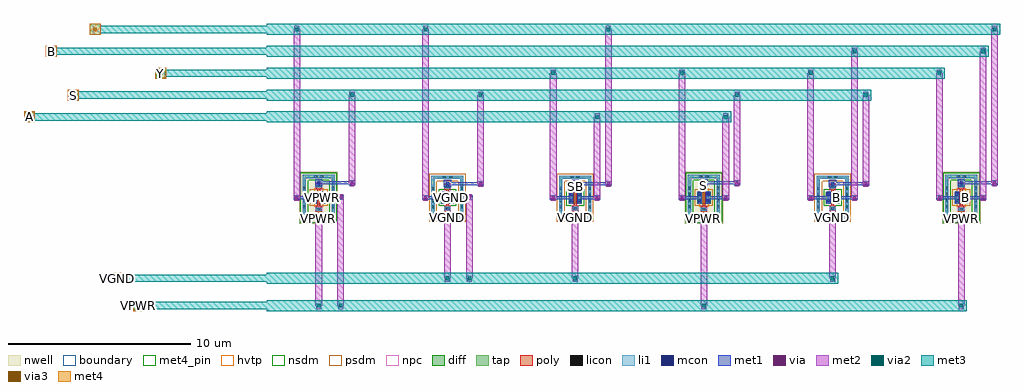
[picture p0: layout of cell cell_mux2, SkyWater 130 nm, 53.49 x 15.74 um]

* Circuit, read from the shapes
.subckt cell_mux2 A B S SB VGND VPWR Y
XM1 VGND S SB VGND sky130_fd_pr__nfet_01v8 w=0.65 l=0.15
XM2 A SB Y VGND sky130_fd_pr__nfet_01v8 w=0.65 l=0.15
XM3 B S Y VGND sky130_fd_pr__nfet_01v8 w=0.65 l=0.15
XM4 VPWR S SB VPWR sky130_fd_pr__pfet_01v8_hvt w=0.65 l=0.15
XM5 A S Y VPWR sky130_fd_pr__pfet_01v8_hvt w=0.65 l=0.15
XM6 B SB Y VPWR sky130_fd_pr__pfet_01v8_hvt w=0.65 l=0.15
.ends

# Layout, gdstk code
import gdstk
lib = gdstk.Library(unit=1e-6, precision=1e-09)
def R(c, l, rs):  # rectangles x0, y0, x1, y1
    for r in rs: c.add(gdstk.rectangle(r[:2], r[2:], *l))
def A(c, l, x, y, w, h, nx, ny, dx, dy):  # array of equal rectangles
    R(c, l, [(x+i*dx, y+j*dy, x+i*dx+w, y+j*dy+h) for i in range(nx) for j in range(ny)])
def P(c, l, *ps):  # polygons
    for p in ps: c.add(gdstk.Polygon(p, *l))
nwell = (64, 20)
diff = (65, 20)
tap = (65, 44)
poly = (66, 20)
licon = (66, 44)
li1 = (67, 20)
mcon = (67, 44)
met1 = (68, 20)
via = (68, 44)
met2 = (69, 20)
via2 = (69, 44)
met3 = (70, 20)
via3 = (70, 44)
met4_pin = (71, 16)
met4 = (71, 20)
hvtp = (78, 44)
nsdm = (93, 44)
psdm = (94, 20)
npc = (95, 20)
boundary = (235, 4)

cell_mux2 = lib.new_cell('cell_mux2')
R(cell_mux2, nwell, [(25.4,14.8,27.51,17.64), (46.51,14.8,48.62,17.64), (60.62,14.8,62.73,17.64)])
A(cell_mux2, diff, 40.145, 15.895, 0.73, 0.65, 4, 1, 7.055, 0)
R(cell_mux2, diff, [(26.09,15.895,26.82,16.545), (33.145,15.895,33.875,16.545)])
R(cell_mux2, tap, [(25.58,14.98,27.33,15.15), (46.69,14.98,48.44,15.15), (60.8,14.98,62.55,15.15), (32.635,15.025,34.385,15.195), (39.635,15.025,41.385,15.195), (53.745,15.025,55.495,15.195), (25.58,15.15,25.75,17.29), (27.16,15.15,27.33,17.29), (46.69,15.15,46.86,17.29), (48.27,15.15,48.44,17.29), (60.8,15.15,60.97,17.29), (62.38,15.15,62.55,17.29), (32.635,15.195,32.805,17.245), (34.215,15.195,34.385,17.245), (39.635,15.195,39.805,17.245), (41.215,15.195,41.385,17.245), (53.745,15.195,53.915,17.245), (55.325,15.195,55.495,17.245), (32.635,17.245,34.385,17.415), (39.635,17.245,41.385,17.415), (53.745,17.245,55.495,17.415), (25.58,17.29,27.33,17.46), (46.69,17.29,48.44,17.46), (60.8,17.29,62.55,17.46)])
R(cell_mux2, poly, [(26.29,15.41,26.62,15.74), (47.4,15.41,47.73,15.74), (61.51,15.41,61.84,15.74), (33.345,15.455,33.675,15.785), (40.345,15.455,40.675,15.785), (54.455,15.455,54.785,15.785), (26.38,15.74,26.53,16.7), (47.49,15.74,47.64,16.7), (61.6,15.74,61.75,16.7), (33.435,15.785,33.585,16.655), (40.435,15.785,40.585,16.655), (54.545,15.785,54.695,16.655), (33.345,16.655,33.675,16.985), (40.345,16.655,40.675,16.985), (54.455,16.655,54.785,16.985), (26.29,16.7,26.62,17.03), (47.4,16.7,47.73,17.03), (61.51,16.7,61.84,17.03)])
A(cell_mux2, licon, 25.58, 15.625, 0.17, 0.17, 1, 4, 0, 0.34)
A(cell_mux2, licon, 27.16, 15.625, 0.17, 0.17, 1, 4, 0, 0.34)
A(cell_mux2, licon, 32.635, 15.625, 0.17, 0.17, 1, 4, 0, 0.34)
A(cell_mux2, licon, 34.215, 15.625, 0.17, 0.17, 1, 4, 0, 0.34)
A(cell_mux2, licon, 39.635, 15.625, 0.17, 0.17, 1, 4, 0, 0.34)
A(cell_mux2, licon, 41.215, 15.625, 0.17, 0.17, 1, 4, 0, 0.34)
A(cell_mux2, licon, 46.69, 15.625, 0.17, 0.17, 1, 4, 0, 0.34)
A(cell_mux2, licon, 48.27, 15.625, 0.17, 0.17, 1, 4, 0, 0.34)
A(cell_mux2, licon, 53.745, 15.625, 0.17, 0.17, 1, 4, 0, 0.34)
A(cell_mux2, licon, 55.325, 15.625, 0.17, 0.17, 1, 4, 0, 0.34)
A(cell_mux2, licon, 60.8, 15.625, 0.17, 0.17, 1, 4, 0, 0.34)
A(cell_mux2, licon, 62.38, 15.625, 0.17, 0.17, 1, 4, 0, 0.34)
R(cell_mux2, licon, [(26.2,14.98,26.37,15.15), (26.54,14.98,26.71,15.15), (47.31,14.98,47.48,15.15), (47.65,14.98,47.82,15.15), (61.42,14.98,61.59,15.15), (61.76,14.98,61.93,15.15), (33.255,15.025,33.425,15.195), (33.595,15.025,33.765,15.195), (40.255,15.025,40.425,15.195), (40.595,15.025,40.765,15.195), (54.365,15.025,54.535,15.195), (54.705,15.025,54.875,15.195), (26.37,15.49,26.54,15.66), (47.48,15.49,47.65,15.66), (61.59,15.49,61.76,15.66), (33.425,15.535,33.595,15.705), (40.425,15.535,40.595,15.705), (54.535,15.535,54.705,15.705), (26.15,15.965,26.32,16.135), (26.59,15.965,26.76,16.135), (33.205,15.965,33.375,16.135), (33.645,15.965,33.815,16.135), (40.205,15.965,40.375,16.135), (40.645,15.965,40.815,16.135), (47.26,15.965,47.43,16.135), (47.7,15.965,47.87,16.135), (54.315,15.965,54.485,16.135), (54.755,15.965,54.925,16.135), (61.37,15.965,61.54,16.135), (61.81,15.965,61.98,16.135), (26.15,16.305,26.32,16.475), (26.59,16.305,26.76,16.475), (33.205,16.305,33.375,16.475), (33.645,16.305,33.815,16.475), (40.205,16.305,40.375,16.475), (40.645,16.305,40.815,16.475), (47.26,16.305,47.43,16.475), (47.7,16.305,47.87,16.475), (54.315,16.305,54.485,16.475), (54.755,16.305,54.925,16.475), (61.37,16.305,61.54,16.475), (61.81,16.305,61.98,16.475), (33.425,16.735,33.595,16.905), (40.425,16.735,40.595,16.905), (54.535,16.735,54.705,16.905), (26.37,16.78,26.54,16.95), (47.48,16.78,47.65,16.95), (61.59,16.78,61.76,16.95), (33.255,17.245,33.425,17.415), (33.595,17.245,33.765,17.415), (40.255,17.245,40.425,17.415), (40.595,17.245,40.765,17.415), (54.365,17.245,54.535,17.415), (54.705,17.245,54.875,17.415), (26.2,17.29,26.37,17.46), (26.54,17.29,26.71,17.46), (47.31,17.29,47.48,17.46), (47.65,17.29,47.82,17.46), (61.42,17.29,61.59,17.46), (61.76,17.29,61.93,17.46)])
R(cell_mux2, li1, [(25.58,14.98,27.33,15.15), (46.69,14.98,48.44,15.15), (60.8,14.98,62.55,15.15), (32.635,15.025,34.385,15.195), (39.635,15.025,41.385,15.195), (53.745,15.025,55.495,15.195), (25.58,15.15,25.75,17.29), (27.16,15.15,27.33,17.29), (46.69,15.15,46.86,17.29), (48.27,15.15,48.44,17.29), (60.8,15.15,60.97,17.29), (62.38,15.15,62.55,17.29), (32.635,15.195,32.805,17.245), (34.215,15.195,34.385,17.245), (39.635,15.195,39.805,17.245), (41.215,15.195,41.385,17.245), (53.745,15.195,53.915,17.245), (55.325,15.195,55.495,17.245), (26.29,15.49,26.62,15.66), (47.4,15.49,47.73,15.66), (61.51,15.49,61.84,15.66), (33.345,15.535,33.675,15.705), (40.345,15.535,40.675,15.705), (54.455,15.535,54.785,15.705), (26.15,15.875,26.32,16.565), (26.59,15.875,26.76,16.565), (33.205,15.875,33.375,16.565), (33.645,15.875,33.815,16.565), (40.205,15.875,40.375,16.565), (40.645,15.875,40.815,16.565), (47.26,15.875,47.43,16.565), (47.7,15.875,47.87,16.565), (54.315,15.875,54.485,16.565), (54.755,15.875,54.925,16.565), (61.37,15.875,61.54,16.565), (61.81,15.875,61.98,16.565), (33.345,16.735,33.675,16.905), (33.425,16.735,33.595,17.075), (40.345,16.735,40.675,16.905), (40.425,16.735,40.595,17.075), (54.455,16.735,54.785,16.905), (54.535,16.735,54.705,17.075), (26.29,16.78,26.62,16.95), (26.37,16.78,26.54,17.12), (47.4,16.78,47.73,16.95), (47.48,16.78,47.65,17.12), (61.51,16.78,61.84,16.95), (61.59,16.78,61.76,17.12), (32.635,17.245,34.385,17.415), (39.635,17.245,41.385,17.415), (53.745,17.245,55.495,17.415), (25.58,17.29,27.33,17.46), (46.69,17.29,48.44,17.46), (60.8,17.29,62.55,17.46)])
R(cell_mux2, mcon, [(26.37,14.98,26.54,15.15), (47.48,14.98,47.65,15.15), (61.59,14.98,61.76,15.15), (33.425,15.025,33.595,15.195), (40.425,15.025,40.595,15.195), (54.535,15.025,54.705,15.195), (26.15,15.955,26.32,16.125), (26.59,15.955,26.76,16.125), (33.205,15.955,33.375,16.125), (33.645,15.955,33.815,16.125), (40.205,15.955,40.375,16.125), (40.645,15.955,40.815,16.125), (47.26,15.955,47.43,16.125), (47.7,15.955,47.87,16.125), (54.315,15.955,54.485,16.125), (54.755,15.955,54.925,16.125), (61.37,15.955,61.54,16.125), (61.81,15.955,61.98,16.125), (26.15,16.315,26.32,16.485), (26.59,16.315,26.76,16.485), (33.205,16.315,33.375,16.485), (33.645,16.315,33.815,16.485), (40.205,16.315,40.375,16.485), (40.645,16.315,40.815,16.485), (47.26,16.315,47.43,16.485), (47.7,16.315,47.87,16.485), (54.315,16.315,54.485,16.485), (54.755,16.315,54.925,16.485), (61.37,16.315,61.54,16.485), (61.81,16.315,61.98,16.485), (33.425,16.905,33.595,17.075), (40.425,16.905,40.595,17.075), (54.535,16.905,54.705,17.075), (26.37,16.95,26.54,17.12), (47.48,16.95,47.65,17.12), (61.59,16.95,61.76,17.12)])
R(cell_mux2, met1, [(26.255,14.865,26.655,15.265), (47.365,14.865,47.765,15.265), (61.475,14.865,61.875,15.265), (33.31,14.91,33.71,15.31), (40.31,14.91,40.71,15.31), (54.42,14.91,54.82,15.31), (26.275,14.935,26.635,15.195), (47.385,14.935,47.745,15.195), (61.495,14.935,61.855,15.195), (33.33,14.98,33.69,15.24), (40.33,14.98,40.69,15.24), (54.44,14.98,54.8,15.24), (26.12,15.895,26.35,16.545), (26.56,15.895,26.79,16.545), (33.175,15.895,33.405,16.545), (33.615,15.895,33.845,16.545), (40.175,15.895,40.405,16.545), (40.615,15.895,40.845,16.545), (47.23,15.895,47.46,16.545), (47.67,15.895,47.9,16.545), (54.285,15.895,54.515,16.545), (54.725,15.895,54.955,16.545), (61.34,15.895,61.57,16.545), (61.78,15.895,62.01,16.545), (25.075,16.09,25.435,16.35), (27.475,16.09,27.835,16.35), (32.13,16.09,32.49,16.35), (34.53,16.09,34.89,16.35), (39.13,16.09,39.49,16.35), (41.53,16.09,41.89,16.35), (46.185,16.09,46.545,16.35), (48.585,16.09,48.945,16.35), (53.24,16.09,53.6,16.35), (55.64,16.09,56,16.35), (60.295,16.09,60.655,16.35), (62.695,16.09,63.055,16.35), (25.255,16.135,26.235,16.305), (26.675,16.135,27.655,16.305), (32.31,16.135,33.29,16.305), (33.73,16.135,34.71,16.305), (39.31,16.135,40.29,16.305), (40.73,16.135,41.71,16.305), (46.365,16.135,47.345,16.305), (47.785,16.135,48.765,16.305), (53.42,16.135,54.4,16.305), (54.84,16.135,55.82,16.305), (60.475,16.135,61.455,16.305), (61.895,16.135,62.875,16.305), (33.31,16.79,33.71,17.19), (40.31,16.79,40.71,17.19), (54.42,16.79,54.82,17.19), (26.255,16.835,26.655,17.235), (47.365,16.835,47.765,17.235), (61.475,16.835,61.875,17.235), (35.15,16.86,35.51,17.12), (42.15,16.86,42.51,17.12), (56.26,16.86,56.62,17.12), (28.095,16.905,28.455,17.165), (33.51,16.905,35.33,17.075), (40.51,16.905,42.33,17.075), (49.205,16.905,49.565,17.165), (54.62,16.905,56.44,17.075), (63.315,16.905,63.675,17.165), (26.455,16.95,28.275,17.12), (47.565,16.95,49.385,17.12), (61.675,16.95,63.495,17.12)])
P(cell_mux2, met1, [(47.565,14.98),(47.565,15.15),(47.565,15.15),(47.565,14.98)],
  [(61.675,14.98),(61.675,15.15),(61.675,15.15),(61.675,14.98)],
  [(33.51,15.025),(33.51,15.195),(33.51,15.195),(33.51,15.025)],
  [(40.51,15.025),(40.51,15.195),(40.51,15.195),(40.51,15.025)],
  [(54.62,15.025),(54.62,15.195),(54.62,15.195),(54.62,15.025)],
  [(26.455,14.98),(26.455,15.15),(26.455,15.15),(26.455,14.98)])
R(cell_mux2, via, [(26.38,14.99,26.53,15.14), (47.49,14.99,47.64,15.14), (61.6,14.99,61.75,15.14), (33.435,15.035,33.585,15.185), (40.435,15.035,40.585,15.185), (54.545,15.035,54.695,15.185), (25.18,16.145,25.33,16.295), (27.58,16.145,27.73,16.295), (32.235,16.145,32.385,16.295), (34.635,16.145,34.785,16.295), (39.235,16.145,39.385,16.295), (41.635,16.145,41.785,16.295), (46.29,16.145,46.44,16.295), (48.69,16.145,48.84,16.295), (53.345,16.145,53.495,16.295), (55.745,16.145,55.895,16.295), (60.4,16.145,60.55,16.295), (62.8,16.145,62.95,16.295), (35.255,16.915,35.405,17.065), (42.255,16.915,42.405,17.065), (56.365,16.915,56.515,17.065), (28.2,16.96,28.35,17.11), (49.31,16.96,49.46,17.11), (63.42,16.96,63.57,17.11)])
A(cell_mux2, met2, 39.13, 16.22, 0.36, 6.82, 4, 1, 7.055, 0)
A(cell_mux2, met2, 39.17, 22.85, 0.28, 0.38, 4, 1, 7.055, 0)
R(cell_mux2, met2, [(26.315,10.11,26.595,10.49), (27.515,10.11,27.795,10.49), (47.425,10.11,47.705,10.49), (61.535,10.11,61.815,10.49), (26.275,10.3,26.635,15.065), (27.475,10.3,27.835,16.22), (47.385,10.3,47.745,15.065), (61.495,10.3,61.855,15.065), (33.37,11.61,33.65,11.99), (34.57,11.61,34.85,11.99), (40.37,11.61,40.65,11.99), (54.48,11.61,54.76,11.99), (33.33,11.8,33.69,15.11), (34.53,11.8,34.89,16.22), (40.33,11.8,40.69,15.11), (54.44,11.8,54.8,15.11), (26.325,14.885,26.585,15.245), (47.435,14.885,47.695,15.245), (61.545,14.885,61.805,15.245), (33.38,14.93,33.64,15.29), (40.38,14.93,40.64,15.29), (54.49,14.93,54.75,15.29), (25.125,16.04,25.385,16.4), (27.525,16.04,27.785,16.4), (32.18,16.04,32.44,16.4), (34.58,16.04,34.84,16.4), (39.18,16.04,39.44,16.4), (41.58,16.04,41.84,16.4), (46.235,16.04,46.495,16.4), (48.635,16.04,48.895,16.4), (53.29,16.04,53.55,16.4), (55.69,16.04,55.95,16.4), (60.345,16.04,60.605,16.4), (62.745,16.04,63.005,16.4), (25.075,16.22,25.435,25.44), (32.13,16.22,32.49,25.44), (41.53,16.22,41.89,20.64), (48.585,16.22,48.945,20.64), (55.64,16.22,56,24.24), (62.695,16.22,63.055,24.24), (35.2,16.81,35.46,17.17), (42.2,16.81,42.46,17.17), (56.31,16.81,56.57,17.17), (28.145,16.855,28.405,17.215), (49.255,16.855,49.515,17.215), (63.365,16.855,63.625,17.215), (35.15,16.99,35.51,21.84), (42.15,16.99,42.51,25.44), (56.26,16.99,56.62,21.84), (28.095,17.035,28.455,21.84), (49.205,17.035,49.565,21.84), (63.315,17.035,63.675,25.44), (41.57,20.45,41.85,20.83), (48.625,20.45,48.905,20.83), (28.135,21.65,28.415,22.03), (35.19,21.65,35.47,22.03), (49.245,21.65,49.525,22.03), (56.3,21.65,56.58,22.03), (55.68,24.05,55.96,24.43), (62.735,24.05,63.015,24.43), (25.115,25.25,25.395,25.63), (32.17,25.25,32.45,25.63), (42.19,25.25,42.47,25.63), (63.355,25.25,63.635,25.63)])
A(cell_mux2, via2, 39.21, 22.94, 0.2, 0.2, 4, 1, 7.055, 0)
R(cell_mux2, via2, [(26.355,10.2,26.555,10.4), (27.555,10.2,27.755,10.4), (47.465,10.2,47.665,10.4), (61.575,10.2,61.775,10.4), (33.41,11.7,33.61,11.9), (34.61,11.7,34.81,11.9), (40.41,11.7,40.61,11.9), (54.52,11.7,54.72,11.9), (41.61,20.54,41.81,20.74), (48.665,20.54,48.865,20.74), (28.175,21.74,28.375,21.94), (35.23,21.74,35.43,21.94), (49.285,21.74,49.485,21.94), (56.34,21.74,56.54,21.94), (55.72,24.14,55.92,24.34), (62.775,24.14,62.975,24.34), (25.155,25.34,25.355,25.54), (32.21,25.34,32.41,25.54), (42.23,25.34,42.43,25.54), (63.395,25.34,63.595,25.54)])
A(cell_mux2, met3, 39.06, 22.79, 0.5, 0.5, 4, 1, 7.055, 0)
R(cell_mux2, met3, [(16.3,10,16.9,10.6), (23.6,10,61.975,10.6), (26.205,10.05,26.705,10.55), (27.405,10.05,27.905,10.55), (47.315,10.05,47.815,10.55), (61.425,10.05,61.925,10.55), (15.1,11.5,15.7,12.1), (23.6,11.5,54.92,12.1), (33.26,11.55,33.76,12.05), (34.46,11.55,34.96,12.05), (40.26,11.55,40.76,12.05), (54.37,11.55,54.87,12.05), (10.3,20.34,10.9,20.94), (23.6,20.34,49.065,20.94), (41.46,20.39,41.96,20.89), (48.515,20.39,49.015,20.89), (12.7,21.54,13.3,22.14), (23.6,21.54,56.74,22.14), (28.025,21.59,28.525,22.09), (35.08,21.59,35.58,22.09), (49.135,21.59,49.635,22.09), (56.19,21.59,56.69,22.09), (17.5,22.74,18.1,23.34), (23.6,22.74,60.775,23.34), (11.5,23.94,12.1,24.54), (23.6,23.94,63.175,24.54), (55.57,23.99,56.07,24.49), (62.625,23.99,63.125,24.49), (13.9,25.14,14.5,25.74), (23.6,25.14,63.795,25.74), (25.005,25.19,25.505,25.69), (32.06,25.19,32.56,25.69), (42.08,25.19,42.58,25.69), (63.245,25.19,63.745,25.69)])
R(cell_mux2, via3, [(16.5,10.2,16.7,10.4), (15.3,11.7,15.5,11.9), (10.5,20.54,10.7,20.74), (12.9,21.74,13.1,21.94), (17.7,22.94,17.9,23.14), (11.7,24.14,11.9,24.34), (14.1,25.34,14.3,25.54)])
R(cell_mux2, met4_pin, [(16.35,10.05,16.85,10.55), (15.15,11.55,15.65,12.05), (10.35,20.39,10.85,20.89), (12.75,21.59,13.25,22.09), (17.55,22.79,18.05,23.29), (11.55,23.99,12.05,24.49)])
R(cell_mux2, met4, [(16.3,10,16.9,10.6), (16.35,10,16.85,10.6), (15.1,11.5,15.7,12.1), (15.15,11.5,15.65,12.1), (10.3,20.34,10.9,20.94), (10.35,20.34,10.85,20.94), (12.7,21.54,13.3,22.14), (12.75,21.54,13.25,22.14), (17.5,22.74,18.1,23.34), (17.55,22.74,18.05,23.34), (11.5,23.94,12.1,24.54), (11.55,23.94,12.05,24.54), (13.9,25.14,14.5,25.74), (13.95,25.14,14.45,25.74)])
R(cell_mux2, hvtp, [(26.2,15.715,26.71,16.725), (47.31,15.715,47.82,16.725), (61.42,15.715,61.93,16.725)])
R(cell_mux2, nsdm, [(25.455,14.855,27.455,15.275), (46.565,14.855,48.565,15.275), (60.675,14.855,62.675,15.275), (25.455,15.275,25.875,17.165), (27.035,15.275,27.455,17.165), (46.565,15.275,46.985,17.165), (48.145,15.275,48.565,17.165), (60.675,15.275,61.095,17.165), (62.255,15.275,62.675,17.165), (33.02,15.77,34,16.67), (40.02,15.77,41,16.67), (54.13,15.77,55.11,16.67), (25.455,17.165,27.455,17.585), (46.565,17.165,48.565,17.585), (60.675,17.165,62.675,17.585)])
R(cell_mux2, psdm, [(32.51,14.9,34.51,15.32), (39.51,14.9,41.51,15.32), (53.62,14.9,55.62,15.32), (32.51,15.32,32.93,17.12), (34.09,15.32,34.51,17.12), (39.51,15.32,39.93,17.12), (41.09,15.32,41.51,17.12), (53.62,15.32,54.04,17.12), (55.2,15.32,55.62,17.12), (25.965,15.77,26.945,16.67), (47.075,15.77,48.055,16.67), (61.185,15.77,62.165,16.67), (32.51,17.12,34.51,17.54), (39.51,17.12,41.51,17.54), (53.62,17.12,55.62,17.54)])
R(cell_mux2, npc, [(26.27,15.39,26.64,15.76), (47.38,15.39,47.75,15.76), (61.49,15.39,61.86,15.76), (33.325,15.435,33.695,15.805), (40.325,15.435,40.695,15.805), (54.435,15.435,54.805,15.805), (33.325,16.635,33.695,17.005), (40.325,16.635,40.695,17.005), (54.435,16.635,54.805,17.005), (26.27,16.68,26.64,17.05), (47.38,16.68,47.75,17.05), (61.49,16.68,61.86,17.05)])
R(cell_mux2, boundary, [(25.665,15.065,27.245,17.375), (46.775,15.065,48.355,17.375), (60.885,15.065,62.465,17.375), (32.72,15.11,34.3,17.33), (39.72,15.11,41.3,17.33), (53.83,15.11,55.41,17.33)])
cell_mux2.add(gdstk.FlexPath([(10.6,20.64),(23.6,20.64)], 0.4, ends="flush", simple_path=True, layer=70, datatype=20))  # met3
cell_mux2.add(gdstk.FlexPath([(11.8,24.24),(23.6,24.24)], 0.4, ends="flush", simple_path=True, layer=70, datatype=20))  # met3
cell_mux2.add(gdstk.FlexPath([(13,21.84),(23.6,21.84)], 0.4, ends="flush", simple_path=True, layer=70, datatype=20))  # met3
cell_mux2.add(gdstk.FlexPath([(14.2,25.44),(23.6,25.44)], 0.4, ends="flush", simple_path=True, layer=70, datatype=20))  # met3
cell_mux2.add(gdstk.FlexPath([(15.4,11.8),(23.6,11.8)], 0.4, ends="flush", simple_path=True, layer=70, datatype=20))  # met3
cell_mux2.add(gdstk.FlexPath([(16.6,10.3),(23.6,10.3)], 0.4, ends="flush", simple_path=True, layer=70, datatype=20))  # met3
cell_mux2.add(gdstk.FlexPath([(17.8,23.04),(23.6,23.04)], 0.4, ends="flush", simple_path=True, layer=70, datatype=20))  # met3
cell_mux2.add(gdstk.Label('SB', (40.51,16.82), layer=67, texttype=5))
cell_mux2.add(gdstk.Label('Y', (40.29,16.22), layer=67, texttype=5))
cell_mux2.add(gdstk.Label('VGND', (33.73,16.22), layer=67, texttype=5))
cell_mux2.add(gdstk.Label('SB', (33.29,16.22), layer=67, texttype=5))
cell_mux2.add(gdstk.Label('B', (54.84,16.22), layer=67, texttype=5))
cell_mux2.add(gdstk.Label('VGND', (33.51,15.11), layer=67, texttype=5))
cell_mux2.add(gdstk.Label('VPWR', (47.565,15.065), layer=67, texttype=5))
cell_mux2.add(gdstk.Label('VPWR', (26.455,15.065), layer=67, texttype=5))
cell_mux2.add(gdstk.Label('S', (33.51,16.82), layer=67, texttype=5))
cell_mux2.add(gdstk.Label('VPWR', (26.675,16.22), layer=67, texttype=5))
cell_mux2.add(gdstk.Label('S', (47.565,16.865), layer=67, texttype=5))
cell_mux2.add(gdstk.Label('B', (61.895,16.22), layer=67, texttype=5))
cell_mux2.add(gdstk.Label('A', (40.73,16.22), layer=67, texttype=5))
cell_mux2.add(gdstk.Label('Y', (47.345,16.22), layer=67, texttype=5))
cell_mux2.add(gdstk.Label('SB', (61.675,16.865), layer=67, texttype=5))
cell_mux2.add(gdstk.Label('Y', (61.455,16.22), layer=67, texttype=5))
cell_mux2.add(gdstk.Label('VPWR', (61.675,15.065), layer=67, texttype=5))
cell_mux2.add(gdstk.Label('S', (54.62,16.82), layer=67, texttype=5))
cell_mux2.add(gdstk.Label('SB', (26.235,16.22), layer=67, texttype=5))
cell_mux2.add(gdstk.Label('S', (26.455,16.865), layer=67, texttype=5))
cell_mux2.add(gdstk.Label('VGND', (40.51,15.11), layer=67, texttype=5))
cell_mux2.add(gdstk.Label('VGND', (54.62,15.11), layer=67, texttype=5))
cell_mux2.add(gdstk.Label('A', (47.785,16.22), layer=67, texttype=5))
cell_mux2.add(gdstk.Label('Y', (54.4,16.22), layer=67, texttype=5))
cell_mux2.add(gdstk.Label('A', (10.6,20.64), layer=71, texttype=5))
cell_mux2.add(gdstk.Label('B', (11.8,24.24), layer=71, texttype=5))
cell_mux2.add(gdstk.Label('S', (13,21.84), layer=71, texttype=5))
cell_mux2.add(gdstk.Label('VGND', (15.4,11.8), layer=71, texttype=5))
cell_mux2.add(gdstk.Label('VPWR', (16.6,10.3), layer=71, texttype=5))
cell_mux2.add(gdstk.Label('Y', (17.8,23.04), layer=71, texttype=5))

lib.write_gds('cell_mux2.gds')
